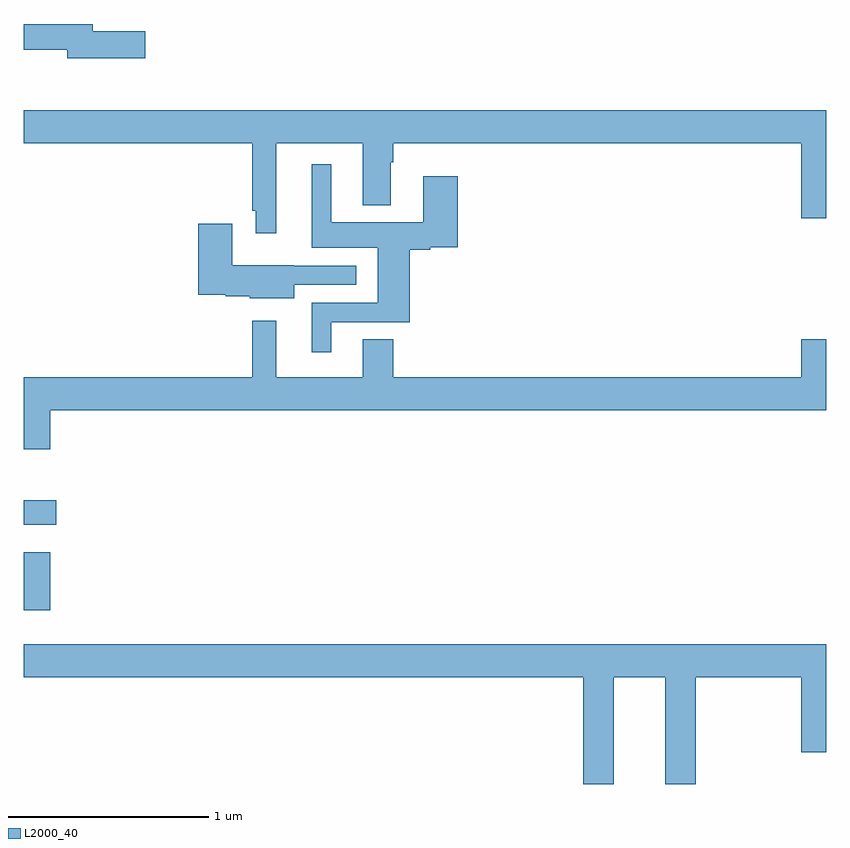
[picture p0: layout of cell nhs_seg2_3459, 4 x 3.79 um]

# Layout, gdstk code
import gdstk
lib = gdstk.Library(unit=1e-6, precision=1e-09)
def R(c, l, rs):  # rectangles x0, y0, x1, y1
    for r in rs: c.add(gdstk.rectangle(r[:2], r[2:], *l))
def P(c, l, *ps):  # polygons
    for p in ps: c.add(gdstk.Polygon(p, *l))
L2000_40 = (2000, 40)

nhs_seg2_3459 = lib.new_cell('nhs_seg2_3459')
R(nhs_seg2_3459, L2000_40, [(293,618.666,293.132,618.955), (293,619.094,293.161,619.216)])
P(nhs_seg2_3459, L2000_40, [(293.605,621.554),(293.344,621.554),(293.344,621.59),(293,621.59),(293,621.462),(293.216,621.462),(293.216,621.419),(293.605,621.419)],
  [(294.259,620.996),(294.689,620.996),(294.689,620.687),(294.829,620.687),(294.829,620.9),(294.842,620.9),(294.842,620.996),(296.876,620.996),(296.876,620.622),(297,620.622),(297,621.16),(293,621.16),(293,620.996),(294.138,620.996),(294.138,620.659),(294.155,620.659),(294.155,620.547),(294.259,620.547)],
  [(294.532,620.103),(294.923,620.103),(294.923,620.465),(295.026,620.465),(295.026,620.477),(295.163,620.477),(295.163,620.83),(294.992,620.83),(294.992,620.602),(294.532,620.602),(294.532,620.89),(294.434,620.89),(294.434,620.474),(294.764,620.474),(294.764,620.199),(294.434,620.199),(294.434,619.953),(294.532,619.953)],
  [(294.349,620.289),(294.658,620.289),(294.658,620.385),(294.345,620.385),(294.345,620.386),(294.04,620.386),(294.04,620.593),(293.87,620.593),(293.87,620.24),(294.006,620.24),(294.006,620.233),(294.126,620.233),(294.126,620.222),(294.349,620.222)],
  [(293.132,619.664),(297,619.664),(297,620.017),(296.876,620.017),(296.876,619.828),(294.842,619.828),(294.842,620.018),(294.689,620.018),(294.689,619.828),(294.259,619.828),(294.259,620.11),(294.138,620.11),(294.138,619.828),(293,619.828),(293,619.47),(293.132,619.47)],
  [(295.942,618.332),(296.198,618.332),(296.198,617.8),(296.351,617.8),(296.351,618.332),(296.876,618.332),(296.876,617.958),(297,617.958),(297,618.496),(293,618.496),(293,618.332),(295.79,618.332),(295.79,617.8),(295.942,617.8)])

lib.write_gds('nhs_seg2_3459.gds')
